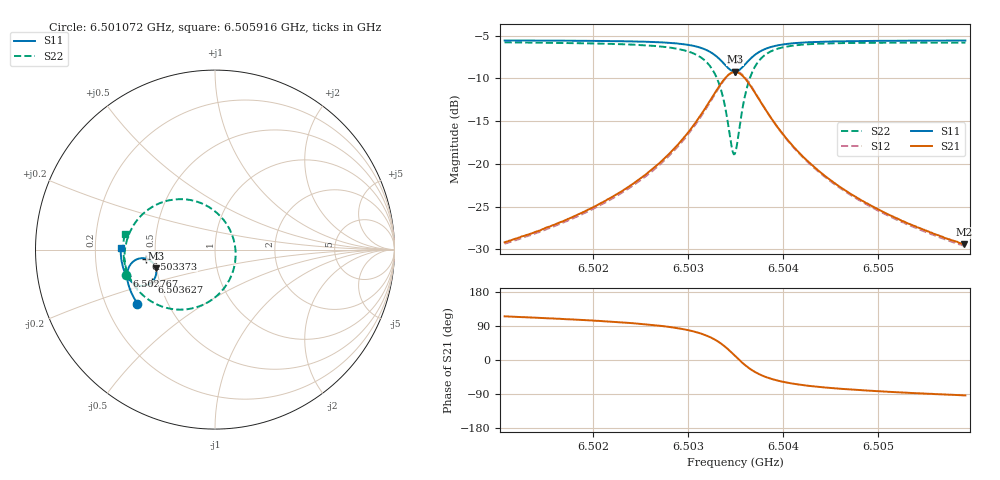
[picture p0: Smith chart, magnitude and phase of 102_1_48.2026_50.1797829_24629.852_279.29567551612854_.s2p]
#  HZ  S  RI  R  50.00
! Rohde & Schwarz Vector Network Analyzer
! Rohde-Schwarz,ZNB20-2Port,1311601062101988,3.16
! Created: UTC 3/20/2024, 11:40:37 AM
! freq[Hz]  re:S11  im:S11  re:S21  im:S21  re:S12  im:S12  re:S22  im:S22
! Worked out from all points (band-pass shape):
!   401 points, 6.501072 GHz to 6.505916 GHz, reference 50 ohm
!   highest |S21| = -9.25 dB at 6.503494 GHz (marker M1); lowest = -29.4 dB at 6.505904 GHz (marker M2)
!   |S21| within 3 dB of the highest: 6.503251 GHz to 6.503736 GHz (484.2 kHz wide, 0.00745 % of centre)
!   lowest |S11| = -9.2 dB at 6.503494 GHz (marker M3), VSWR 2.06, Z = 24.7 - j5.77 ohm
!   |S11| at or under -10 dB: nowhere
!   |S22| runs from -18.9 to -5.8 dB; largest |S21 - S12| = 0.012
!   S11 on the Smith chart (normalised r, x): 6.501072 GHz: 0.34, -0.28; 6.502767 GHz: 0.33, -0.13; 6.503373 GHz: 0.44, -0.05; 6.503627 GHz: 0.45, -0.19; 6.505916 GHz: 0.31, +0.01
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6.501072e9  -0.4318 -0.3012  -0.0148 0.0315  -0.0131 0.0316  -0.4935 -0.142
6.5018833e9  -0.466 -0.2402  -0.014 0.0498  -0.0116 0.0493  -0.5044 -0.0534
6.5023314e9  -0.4812 -0.1995  -0.0107 0.0701  -0.00768 0.0689  -0.4998 0.0127
6.5026946e9  -0.4892 -0.1581  -0.0012 0.1005  0.00258 0.098  -0.4783 0.0886
6.5027673e9  -0.4896 -0.1482  0.00308 0.1097  0.00673 0.1067  -0.4694 0.1083
6.5029732e9  -0.4857 -0.1147  0.0249 0.1437  0.0284 0.1393  -0.4237 0.1764
6.5031306e9  -0.4706 -0.0823  0.0649 0.1803  0.0677 0.1743  -0.3455 0.2402
6.5032759e9  -0.4319 -0.0526  0.1482 0.2093  0.1489 0.2029  -0.1933 0.281
6.5033728e9  -0.3847 -0.0502  0.2413 0.192  0.2414 0.1871  -0.0322 0.2362
6.5034575e9  -0.3413 -0.0801  0.3205 0.1155  0.323 0.1112  0.0943 0.0853
6.5034938e9  -0.3303 -0.1027  0.3383 0.0657  0.3418 0.0602  0.1146 -0.00814
6.5035181e9  -0.3273 -0.1192  0.3413 0.0305  0.3454 0.0236  0.1117 -0.073
6.5035544e9  -0.3297 -0.1438  0.3337 -0.0203  0.3371 -0.0296  0.0831 -0.1633
6.503627e9  -0.3524 -0.1813  0.2858 -0.0975  0.2856 -0.1093  -0.0298 -0.2877
6.5037239e9  -0.3939 -0.201  0.2061 -0.1412  0.2011 -0.1515  -0.1923 -0.3344
6.5038813e9  -0.4436 -0.1936  0.1169 -0.1404  0.1095 -0.1458  -0.3546 -0.2891
6.5040509e9  -0.473 -0.1724  0.0684 -0.119  0.0617 -0.1214  -0.4334 -0.2209
6.5043052e9  -0.4956 -0.1411  0.035 -0.0918  0.0299 -0.0922  -0.4815 -0.1422
6.5046563e9  -0.511 -0.1034  0.0158 -0.068  0.0124 -0.0676  -0.504 -0.0679
6.5051165e9  -0.5208 -0.0601  0.0052 -0.0499  0.00287 -0.0494  -0.5107 6.45e-05
6.5059036e9  -0.526 0.00711  -0.0019 -0.0338  -0.00336 -0.0331  -0.5036 0.0857
6.5059157e9  -0.526 0.00809  -0.00206 -0.0338  -0.00335 -0.0329  -0.5035 0.0869
